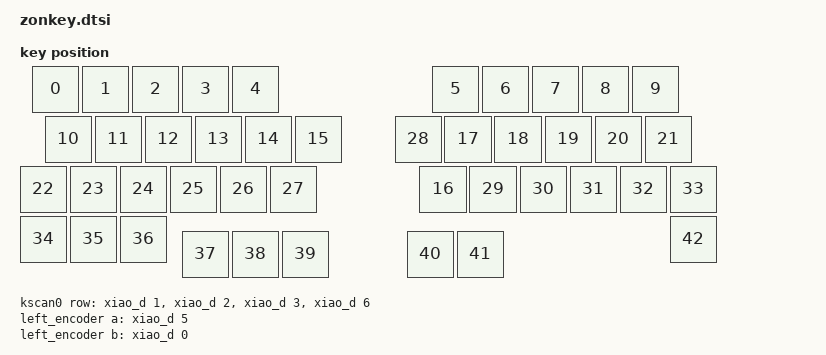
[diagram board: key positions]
#include <dt-bindings/zmk/matrix_transform.h>
#include <physical_layouts.dtsi>

/ {
    chosen {
        zmk,physical-layout = &physical_layout0;
    };

    physical_layout0: physical_layout_0 {
        compatible = "zmk,physical-layout";
        display-name = "default_layout";

        kscan = <&kscan0>;
        transform = <&default_transform>;

        keys  //                     w   h    x    y     rot    rx    ry
            = <&key_physical_attrs 100 100   25    0       0     0     0>
            , <&key_physical_attrs 100 100  125    0       0     0     0>
            , <&key_physical_attrs 100 100  225    0       0     0     0>
            , <&key_physical_attrs 100 100  325    0       0     0     0>
            , <&key_physical_attrs 100 100  425    0       0     0     0>
            , <&key_physical_attrs 100 100  825    0       0     0     0>
            , <&key_physical_attrs 100 100  925    0       0     0     0>
            , <&key_physical_attrs 100 100 1025    0       0     0     0>
            , <&key_physical_attrs 100 100 1125    0       0     0     0>
            , <&key_physical_attrs 100 100 1225    0       0     0     0>

            , <&key_physical_attrs 100 100   50  100       0     0     0>
            , <&key_physical_attrs 100 100  150  100       0     0     0>
            , <&key_physical_attrs 100 100  250  100       0     0     0>
            , <&key_physical_attrs 100 100  350  100       0     0     0>
            , <&key_physical_attrs 100 100  450  100       0     0     0>
            , <&key_physical_attrs 100 100  550  100       0     0     0>
            , <&key_physical_attrs 100 100  800  200       0     0     0>
            , <&key_physical_attrs 100 100  850  100       0     0     0>
            , <&key_physical_attrs 100 100  950  100       0     0     0>
            , <&key_physical_attrs 100 100 1050  100       0     0     0>
            , <&key_physical_attrs 100 100 1150  100       0     0     0>
            , <&key_physical_attrs 100 100 1250  100       0     0     0>

            , <&key_physical_attrs 100 100    0  200       0     0     0>
            , <&key_physical_attrs 100 100  100  200       0     0     0>
            , <&key_physical_attrs 100 100  200  200       0     0     0>
            , <&key_physical_attrs 100 100  300  200       0     0     0>
            , <&key_physical_attrs 100 100  400  200       0     0     0>
            , <&key_physical_attrs 100 100  500  200       0     0     0>
            , <&key_physical_attrs 100 100  750  100       0     0     0>
            , <&key_physical_attrs 100 100  900  200       0     0     0>
            , <&key_physical_attrs 100 100 1000  200       0     0     0>
            , <&key_physical_attrs 100 100 1100  200       0     0     0>
            , <&key_physical_attrs 100 100 1200  200       0     0     0>
            , <&key_physical_attrs 100 100 1300  200       0     0     0>

            , <&key_physical_attrs 100 100    0  300       0     0     0>
            , <&key_physical_attrs 100 100  100  300       0     0     0>
            , <&key_physical_attrs 100 100  200  300       0     0     0>
            , <&key_physical_attrs 100 100  325  330       0     0     0>
            , <&key_physical_attrs 100 100  425  330       0     0     0>
            , <&key_physical_attrs 100 100  525  330       0     0     0>
            , <&key_physical_attrs 100 100  775  330       0     0     0>
            , <&key_physical_attrs 100 100  875  330       0     0     0>
            , <&key_physical_attrs 100 100 1300  300       0     0     0>
            ;
    };
    
    kscan0: kscan {
        compatible = "zmk,kscan-gpio-matrix";
        label = "KSCAN";
        diode-direction = "col2row";
            row-gpios
                = <&xiao_d 1 (GPIO_ACTIVE_HIGH | GPIO_PULL_DOWN)> 
                , <&xiao_d 2 (GPIO_ACTIVE_HIGH | GPIO_PULL_DOWN)> 
                , <&xiao_d 3 (GPIO_ACTIVE_HIGH | GPIO_PULL_DOWN)> 
                , <&xiao_d 6 (GPIO_ACTIVE_HIGH | GPIO_PULL_DOWN)> 			
                ;
    };

    left_encoder: encoder_left {
        compatible = "alps,ec11";
        a-gpios = <&xiao_d 5 (GPIO_ACTIVE_HIGH | GPIO_PULL_UP)>;
        b-gpios = <&xiao_d 0 (GPIO_ACTIVE_HIGH | GPIO_PULL_UP)>;
        steps = <24>;
        status = "disabled";
    };

    right_encoder: encoder_right {
        status = "disabled";
    };

    sensors: sensors {
        compatible = "zmk,keymap-sensors";
        sensors = <&left_encoder &right_encoder>;
        triggers-per-rotation = <10>;
    };
};
